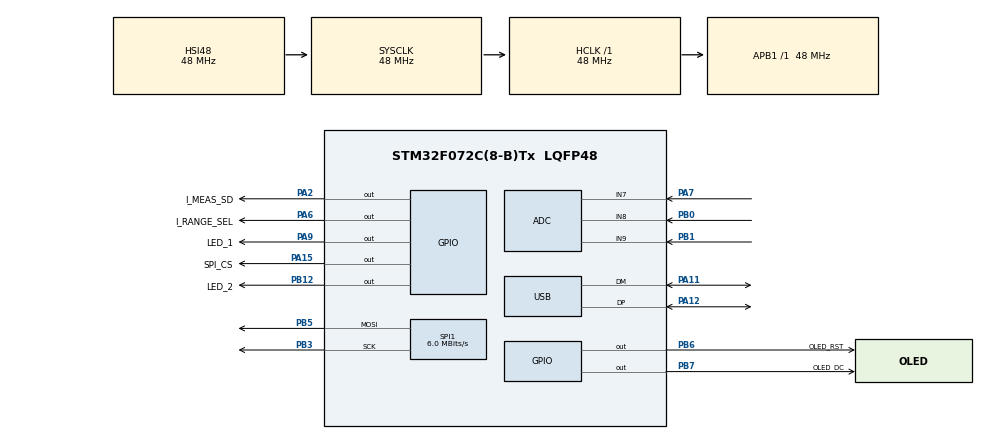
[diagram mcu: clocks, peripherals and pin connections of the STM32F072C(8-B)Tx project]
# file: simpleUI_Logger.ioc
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ADC.ClockPrescaler=ADC_CLOCK_ASYNC_DIV1
ADC.ContinuousConvMode=ENABLE
ADC.DMAContinuousRequests=ENABLE
ADC.EOCSelection=ADC_EOC_SEQ_CONV
ADC.ExternalTrigConv=ADC_EXTERNALTRIGCONV_T2_TRGO
ADC.Overrun=ADC_OVR_DATA_OVERWRITTEN
ADC.SamplingTime=ADC_SAMPLETIME_1CYCLE_5
Dma.ADC.0.Direction=DMA_PERIPH_TO_MEMORY
Dma.ADC.0.Instance=DMA1_Channel1
Dma.ADC.0.MemDataAlignment=DMA_MDATAALIGN_HALFWORD
Dma.ADC.0.MemInc=DMA_MINC_ENABLE
Dma.ADC.0.Mode=DMA_CIRCULAR
Dma.ADC.0.PeriphDataAlignment=DMA_PDATAALIGN_HALFWORD
Dma.ADC.0.PeriphInc=DMA_PINC_DISABLE
Dma.ADC.0.Priority=DMA_PRIORITY_HIGH
Dma.Request0=ADC
Dma.Request1=SPI1_TX
Dma.SPI1_TX.1.Direction=DMA_MEMORY_TO_PERIPH
Dma.SPI1_TX.1.Instance=DMA1_Channel3
Dma.SPI1_TX.1.MemDataAlignment=DMA_MDATAALIGN_BYTE
Dma.SPI1_TX.1.MemInc=DMA_MINC_ENABLE
Dma.SPI1_TX.1.Mode=DMA_NORMAL
Dma.SPI1_TX.1.PeriphDataAlignment=DMA_PDATAALIGN_BYTE
Dma.SPI1_TX.1.PeriphInc=DMA_PINC_DISABLE
Dma.SPI1_TX.1.Priority=DMA_PRIORITY_LOW
Mcu.Family=STM32F0
Mcu.Name=STM32F072C(8-B)Tx
Mcu.Package=LQFP48
NVIC.ADC1_COMP_IRQn=true\:0\:0\:true\:false\:true\:true\:true
NVIC.DMA1_Channel1_IRQn=true\:0\:0\:false\:false\:true\:false\:true
NVIC.DMA1_Channel2_3_IRQn=true\:0\:0\:false\:false\:true\:false\:true
NVIC.TIM6_DAC_IRQn=true\:2\:0\:true\:false\:true\:true\:true
NVIC.TIM7_IRQn=true\:3\:0\:true\:false\:true\:true\:true
NVIC.USB_IRQn=true\:0\:0\:false\:false\:true\:false\:true
PA0.Signal=COMP1_INM
PA1.Signal=COMP1_INP
PA11.Mode=Device
PA11.Signal=USB_DM
PA12.Mode=Device
PA12.Signal=USB_DP
PA13.Mode=Serial_Wire
PA13.Signal=SYS_SWDIO
PA14.Mode=Serial_Wire
PA14.Signal=SYS_SWCLK
PA15.GPIO_Label=SPI_CS
PA15.Signal=GPIO_Output
PA2.GPIO_Label=I_MEAS_SD
PA2.Signal=GPIO_Output
PA3.Signal=COMP2_INP
PA5.Signal=COMP2_INM
PA6.GPIO_Label=I_RANGE_SEL
PA6.Signal=GPIO_Output
PA7.Mode=IN7
PA7.Signal=ADC_IN7
PA8.Signal=RCC_MCO
PA9.GPIO_Label=LED_1
PA9.Signal=GPIO_Output
PB0.Mode=IN8
PB0.Signal=ADC_IN8
PB1.Mode=IN9
PB1.Signal=ADC_IN9
PB12.GPIO_Label=LED_2
PB12.Signal=GPIO_Output
PB3.Mode=TX_Only_Simplex_Unidirect_Master
PB3.Signal=SPI1_SCK
PB5.Mode=TX_Only_Simplex_Unidirect_Master
PB5.Signal=SPI1_MOSI
PB6.GPIO_Label=OLED_RST
PB6.Signal=GPIO_Output
PB7.GPIO_Label=OLED_DC
PB7.Signal=GPIO_Output
ProjectManager.HeapSize=0x200
ProjectManager.StackSize=0x400
ProjectManager.TargetToolchain=STM32CubeIDE
RCC.AHBFreq_Value=48000000
RCC.APB1Freq_Value=48000000
RCC.APB1TimFreq_Value=48000000
RCC.HCLKFreq_Value=48000000
RCC.PLLMUL=RCC_PLL_MUL6
RCC.RCC_MCODiv=RCC_MCODIV_64
RCC.SYSCLKFreq_VALUE=48000000
RCC.SYSCLKSource=RCC_SYSCLKSOURCE_HSI48
SPI1.BaudRatePrescaler=SPI_BAUDRATEPRESCALER_8
SPI1.CalculateBaudRate=6.0 MBits/s
SPI1.DataSize=SPI_DATASIZE_8BIT
SPI1.Direction=SPI_DIRECTION_2LINES
SPI1.Mode=SPI_MODE_MASTER
SPI1.VirtualType=VM_MASTER
TIM2.Period=0xf4240
TIM2.Prescaler=48
TIM2.TIM_MasterOutputTrigger=TIM_TRGO_UPDATE
TIM6.Period=1000
TIM6.Prescaler=4800
TIM7.Period=5000
TIM7.Prescaler=4800
USB_DEVICE.CLASS_NAME_FS=CDC
USB_DEVICE.USBD_SELF_POWERED=0
USB_DEVICE.VirtualMode=Cdc
USB_DEVICE.VirtualModeFS=Cdc_FS
VP_TIM2_VS_ClockSourceINT.Mode=Internal
VP_TIM6_VS_ClockSourceINT.Mode=Enable_Timer
VP_TIM7_VS_ClockSourceINT.Mode=Enable_Timer
VP_USB_DEVICE_VS_USB_DEVICE_CDC_FS.Mode=CDC_FS
board=custom

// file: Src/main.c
/* USER CODE BEGIN Header */
/**
  ******************************************************************************
  * @file           : main.c
  * @brief          : Main program body
  ******************************************************************************
  * @attention
  *
  * <h2><center>&copy; Copyright (c) 2019 STMicroelectronics.
  * All rights reserved.</center></h2>
  *
  * This software component is licensed by ST under BSD 3-Clause license,
  * the "License"; You may not use this file except in compliance with the
  * License. You may obtain a copy of the License at:
  *                        opensource.org/licenses/BSD-3-Clause
  *
  ******************************************************************************
  */
/* USER CODE END Header */

#include "main.h"
#include "usb_device.h"

/* USER CODE BEGIN Includes */
#include "ui_log.h"
#include "ssd1306.h"
#include "ssd1306_tests.h"
/* USER CODE END Includes */

ADC_HandleTypeDef hadc;
DMA_HandleTypeDef hdma_adc;

SPI_HandleTypeDef hspi1;
DMA_HandleTypeDef hdma_spi1_tx;

TIM_HandleTypeDef htim2;
TIM_HandleTypeDef htim6;
TIM_HandleTypeDef htim7;

/* USER CODE BEGIN PV */
uint16_t adcRawBuffer[ADC_DMA_BUFFER_SIZE] = {};
uint8_t dmaCounter = 0;
extern ui_log_typedef ui_handle;
volatile uint8_t led_green = 0;
extern uint16_t voltage_tmp, current_tmp;
volatile uint8_t OLED_update = 0;
volatile uint8_t OLED_SPI_busy = 0;
//volatile uint8_t OLED_busy = 0;
/* USER CODE END PV */

void SystemClock_Config(void);
static void MX_GPIO_Init(void);
static void MX_DMA_Init(void);
static void MX_ADC_Init(void);
static void MX_SPI1_Init(void);
static void MX_TIM2_Init(void);
static void MX_TIM6_Init(void);
static void MX_TIM7_Init(void);
/* USER CODE BEGIN PFP */
void update_OLED(uint16_t u, uint16_t i);
void update_OLED_logging(void);
void update_OLED_error(void);
/* USER CODE END PFP */

int main(void)
{

  /* MCU Configuration--------------------------------------------------------*/

  /* Reset of all peripherals, Initializes the Flash interface and the Systick. */
  HAL_Init();

  /* Configure the system clock */
  SystemClock_Config();

  /* Initialize all configured peripherals */
  MX_GPIO_Init();
  MX_DMA_Init();
  MX_ADC_Init();
  MX_SPI1_Init();
  MX_TIM2_Init();
  MX_USB_DEVICE_Init();
  MX_TIM6_Init();
  MX_TIM7_Init();
  /* USER CODE BEGIN 2 */

  //Initialize hardware
  HAL_GPIO_WritePin(I_RANGE_SEL_GPIO_Port, I_RANGE_SEL_Pin, GPIO_PIN_SET); //Bypass 10ohm resistor
  HAL_GPIO_WritePin(I_MEAS_SD_GPIO_Port, I_MEAS_SD_Pin, GPIO_PIN_SET); //Enable current path
  //Calibrate ADC with factory calibration data
  if(HAL_ADCEx_Calibration_Start(&hadc)!=HAL_OK) {
	  HAL_GPIO_WritePin(LED_1_GPIO_Port, LED_1_Pin, GPIO_PIN_RESET);
	  HAL_GPIO_WritePin(LED_2_GPIO_Port, LED_2_Pin, GPIO_PIN_SET);
	  while(1) {
		  HAL_Delay(1);//Error
	  }
  }

  ui_initHandle(&ui_handle);

  //Start ADC, measurement triggered after timer 2 is started
  HAL_ADC_Start_DMA(&hadc, (uint32_t*)adcRawBuffer, ADC_DMA_BUFFER_SIZE);

  //Init OLED module
  ssd1306_Init();

  //Initialization finished, turn on green LEd
  HAL_GPIO_WritePin(LED_1_GPIO_Port, LED_1_Pin, GPIO_PIN_SET);
  led_green = 1;

  HAL_TIM_Base_Start(&htim2);//Start ADC trigger
  HAL_TIM_Base_Start_IT(&htim6);

  /* USER CODE END 2 */

  /* Infinite loop */
  while (1)
  {

    /* USER CODE BEGIN 3 */
	  ui_backgroundTask(&ui_handle);
	  if(OLED_update) {
		  OLED_update = 0;
		  if(ui_handle.status==UI_RUN) {
			  update_OLED_logging();//Not necessary frequently updated, but kept
		  }
		  else if(ui_handle.status==UI_ERROR) {
			  update_OLED_error();//Not necessary frequently updated, but kept
		  }
		  else if(ui_handle.status==UI_IDLE){
			  update_OLED(voltage_tmp, current_tmp); //Display voltage/current
		  }
	  }
  }
  /* USER CODE END 3 */
}

void SystemClock_Config(void)
{
  RCC_OscInitTypeDef RCC_OscInitStruct = {0};
  RCC_ClkInitTypeDef RCC_ClkInitStruct = {0};
  RCC_PeriphCLKInitTypeDef PeriphClkInit = {0};

  /** Initializes the CPU, AHB and APB busses clocks
  */
  RCC_OscInitStruct.OscillatorType = RCC_OSCILLATORTYPE_HSI14|RCC_OSCILLATORTYPE_HSI48;
  RCC_OscInitStruct.HSI48State = RCC_HSI48_ON;
  RCC_OscInitStruct.HSI14State = RCC_HSI14_ON;
  RCC_OscInitStruct.HSI14CalibrationValue = 16;
  RCC_OscInitStruct.PLL.PLLState = RCC_PLL_NONE;
  if (HAL_RCC_OscConfig(&RCC_OscInitStruct) != HAL_OK)
  {
    Error_Handler();
  }
  /** Initializes the CPU, AHB and APB busses clocks
  */
  RCC_ClkInitStruct.ClockType = RCC_CLOCKTYPE_HCLK|RCC_CLOCKTYPE_SYSCLK
                              |RCC_CLOCKTYPE_PCLK1;
  RCC_ClkInitStruct.SYSCLKSource = RCC_SYSCLKSOURCE_HSI48;
  RCC_ClkInitStruct.AHBCLKDivider = RCC_SYSCLK_DIV1;
  RCC_ClkInitStruct.APB1CLKDivider = RCC_HCLK_DIV1;

  if (HAL_RCC_ClockConfig(&RCC_ClkInitStruct, FLASH_LATENCY_1) != HAL_OK)
  {
    Error_Handler();
  }
  PeriphClkInit.PeriphClockSelection = RCC_PERIPHCLK_USB;
  PeriphClkInit.UsbClockSelection = RCC_USBCLKSOURCE_HSI48;

  if (HAL_RCCEx_PeriphCLKConfig(&PeriphClkInit) != HAL_OK)
  {
    Error_Handler();
  }
}

static void MX_ADC_Init(void)
{

  ADC_ChannelConfTypeDef sConfig = {0};

  /** Configure the global features of the ADC (Clock, Resolution, Data Alignment and number of conversion)
  */
  hadc.Instance = ADC1;
  hadc.Init.ClockPrescaler = ADC_CLOCK_ASYNC_DIV1;
  hadc.Init.Resolution = ADC_RESOLUTION_12B;
  hadc.Init.DataAlign = ADC_DATAALIGN_RIGHT;
  hadc.Init.ScanConvMode = ADC_SCAN_DIRECTION_FORWARD;
  hadc.Init.EOCSelection = ADC_EOC_SEQ_CONV;
  hadc.Init.LowPowerAutoWait = DISABLE;
  hadc.Init.LowPowerAutoPowerOff = DISABLE;
  hadc.Init.ContinuousConvMode = ENABLE;
  hadc.Init.DiscontinuousConvMode = DISABLE;
  hadc.Init.ExternalTrigConv = ADC_EXTERNALTRIGCONV_T2_TRGO;
  hadc.Init.ExternalTrigConvEdge = ADC_EXTERNALTRIGCONVEDGE_RISING;
  hadc.Init.DMAContinuousRequests = ENABLE;
  hadc.Init.Overrun = ADC_OVR_DATA_OVERWRITTEN;
  if (HAL_ADC_Init(&hadc) != HAL_OK)
  {
    Error_Handler();
  }
  /** Configure for the selected ADC regular channel to be converted.
  */
  sConfig.Channel = ADC_CHANNEL_7;
  sConfig.Rank = ADC_RANK_CHANNEL_NUMBER;
  sConfig.SamplingTime = ADC_SAMPLETIME_1CYCLE_5;
  if (HAL_ADC_ConfigChannel(&hadc, &sConfig) != HAL_OK)
  {
    Error_Handler();
  }
  /** Configure for the selected ADC regular channel to be converted.
  */
  sConfig.Channel = ADC_CHANNEL_8;
  if (HAL_ADC_ConfigChannel(&hadc, &sConfig) != HAL_OK)
  {
    Error_Handler();
  }
  /** Configure for the selected ADC regular channel to be converted.
  */
  sConfig.Channel = ADC_CHANNEL_9;
  if (HAL_ADC_ConfigChannel(&hadc, &sConfig) != HAL_OK)
  {
    Error_Handler();
  }

}

static void MX_SPI1_Init(void)
{

  /* SPI1 parameter configuration*/
  hspi1.Instance = SPI1;
  hspi1.Init.Mode = SPI_MODE_MASTER;
  hspi1.Init.Direction = SPI_DIRECTION_2LINES;
  hspi1.Init.DataSize = SPI_DATASIZE_8BIT;
  hspi1.Init.CLKPolarity = SPI_POLARITY_LOW;
  hspi1.Init.CLKPhase = SPI_PHASE_1EDGE;
  hspi1.Init.NSS = SPI_NSS_SOFT;
  hspi1.Init.BaudRatePrescaler = SPI_BAUDRATEPRESCALER_8;
  hspi1.Init.FirstBit = SPI_FIRSTBIT_MSB;
  hspi1.Init.TIMode = SPI_TIMODE_DISABLE;
  hspi1.Init.CRCCalculation = SPI_CRCCALCULATION_DISABLE;
  hspi1.Init.CRCPolynomial = 7;
  hspi1.Init.CRCLength = SPI_CRC_LENGTH_DATASIZE;
  hspi1.Init.NSSPMode = SPI_NSS_PULSE_ENABLE;
  if (HAL_SPI_Init(&hspi1) != HAL_OK)
  {
    Error_Handler();
  }

}

static void MX_TIM2_Init(void)
{

  TIM_ClockConfigTypeDef sClockSourceConfig = {0};
  TIM_MasterConfigTypeDef sMasterConfig = {0};

  htim2.Instance = TIM2;
  htim2.Init.Prescaler = 48;
  htim2.Init.CounterMode = TIM_COUNTERMODE_UP;
  htim2.Init.Period = 0xf4240;
  htim2.Init.ClockDivision = TIM_CLOCKDIVISION_DIV1;
  htim2.Init.AutoReloadPreload = TIM_AUTORELOAD_PRELOAD_DISABLE;
  if (HAL_TIM_Base_Init(&htim2) != HAL_OK)
  {
    Error_Handler();
  }
  sClockSourceConfig.ClockSource = TIM_CLOCKSOURCE_INTERNAL;
  if (HAL_TIM_ConfigClockSource(&htim2, &sClockSourceConfig) != HAL_OK)
  {
    Error_Handler();
  }
  sMasterConfig.MasterOutputTrigger = TIM_TRGO_UPDATE;
  sMasterConfig.MasterSlaveMode = TIM_MASTERSLAVEMODE_DISABLE;
  if (HAL_TIMEx_MasterConfigSynchronization(&htim2, &sMasterConfig) != HAL_OK)
  {
    Error_Handler();
  }

}

static void MX_TIM6_Init(void)
{

  TIM_MasterConfigTypeDef sMasterConfig = {0};

  htim6.Instance = TIM6;
  htim6.Init.Prescaler = 4800;
  htim6.Init.CounterMode = TIM_COUNTERMODE_UP;
  htim6.Init.Period = 1000;
  htim6.Init.AutoReloadPreload = TIM_AUTORELOAD_PRELOAD_DISABLE;
  if (HAL_TIM_Base_Init(&htim6) != HAL_OK)
  {
    Error_Handler();
  }
  sMasterConfig.MasterOutputTrigger = TIM_TRGO_RESET;
  sMasterConfig.MasterSlaveMode = TIM_MASTERSLAVEMODE_DISABLE;
  if (HAL_TIMEx_MasterConfigSynchronization(&htim6, &sMasterConfig) != HAL_OK)
  {
    Error_Handler();
  }

}

static void MX_TIM7_Init(void)
{

  TIM_MasterConfigTypeDef sMasterConfig = {0};

  htim7.Instance = TIM7;
  htim7.Init.Prescaler = 4800;
  htim7.Init.CounterMode = TIM_COUNTERMODE_UP;
  htim7.Init.Period = 5000;
  htim7.Init.AutoReloadPreload = TIM_AUTORELOAD_PRELOAD_DISABLE;
  if (HAL_TIM_Base_Init(&htim7) != HAL_OK)
  {
    Error_Handler();
  }
  sMasterConfig.MasterOutputTrigger = TIM_TRGO_RESET;
  sMasterConfig.MasterSlaveMode = TIM_MASTERSLAVEMODE_DISABLE;
  if (HAL_TIMEx_MasterConfigSynchronization(&htim7, &sMasterConfig) != HAL_OK)
  {
    Error_Handler();
  }

}

static void MX_DMA_Init(void)
{

  /* DMA controller clock enable */
  __HAL_RCC_DMA1_CLK_ENABLE();

  /* DMA interrupt init */
  /* DMA1_Channel1_IRQn interrupt configuration */
  HAL_NVIC_SetPriority(DMA1_Channel1_IRQn, 0, 0);
  HAL_NVIC_EnableIRQ(DMA1_Channel1_IRQn);
  /* DMA1_Channel2_3_IRQn interrupt configuration */
  HAL_NVIC_SetPriority(DMA1_Channel2_3_IRQn, 0, 0);
  HAL_NVIC_EnableIRQ(DMA1_Channel2_3_IRQn);

}

static void MX_GPIO_Init(void)
{
  GPIO_InitTypeDef GPIO_InitStruct = {0};

  /* GPIO Ports Clock Enable */
  __HAL_RCC_GPIOC_CLK_ENABLE();
  __HAL_RCC_GPIOF_CLK_ENABLE();
  __HAL_RCC_GPIOA_CLK_ENABLE();
  __HAL_RCC_GPIOB_CLK_ENABLE();

  /*Configure GPIO pin Output Level */
  HAL_GPIO_WritePin(GPIOA, I_MEAS_SD_Pin|I_RANGE_SEL_Pin|LED_1_Pin|SPI_CS_Pin, GPIO_PIN_RESET);

  /*Configure GPIO pin Output Level */
  HAL_GPIO_WritePin(GPIOB, LED_2_Pin|OLED_RST_Pin|OLED_DC_Pin, GPIO_PIN_RESET);

  /*Configure GPIO pins : PC13 PC14 PC15 */
  GPIO_InitStruct.Pin = GPIO_PIN_13|GPIO_PIN_14|GPIO_PIN_15;
  GPIO_InitStruct.Mode = GPIO_MODE_ANALOG;
  GPIO_InitStruct.Pull = GPIO_NOPULL;
  HAL_GPIO_Init(GPIOC, &GPIO_InitStruct);

  /*Configure GPIO pins : PF0 PF1 */
  GPIO_InitStruct.Pin = GPIO_PIN_0|GPIO_PIN_1;
  GPIO_InitStruct.Mode = GPIO_MODE_ANALOG;
  GPIO_InitStruct.Pull = GPIO_NOPULL;
  HAL_GPIO_Init(GPIOF, &GPIO_InitStruct);

  /*Configure GPIO pins : PA0 PA1 PA3 PA4
                           PA5 PA10 */
  GPIO_InitStruct.Pin = GPIO_PIN_0|GPIO_PIN_1|GPIO_PIN_3|GPIO_PIN_4
                          |GPIO_PIN_5|GPIO_PIN_10;
  GPIO_InitStruct.Mode = GPIO_MODE_ANALOG;
  GPIO_InitStruct.Pull = GPIO_NOPULL;
  HAL_GPIO_Init(GPIOA, &GPIO_InitStruct);

  /*Configure GPIO pins : I_MEAS_SD_Pin I_RANGE_SEL_Pin LED_1_Pin SPI_CS_Pin */
  GPIO_InitStruct.Pin = I_MEAS_SD_Pin|I_RANGE_SEL_Pin|LED_1_Pin|SPI_CS_Pin;
  GPIO_InitStruct.Mode = GPIO_MODE_OUTPUT_PP;
  GPIO_InitStruct.Pull = GPIO_NOPULL;
  GPIO_InitStruct.Speed = GPIO_SPEED_FREQ_LOW;
  HAL_GPIO_Init(GPIOA, &GPIO_InitStruct);

  /*Configure GPIO pins : PB2 PB10 PB11 PB13
                           PB14 PB15 PB4 PB8
                           PB9 */
  GPIO_InitStruct.Pin = GPIO_PIN_2|GPIO_PIN_10|GPIO_PIN_11|GPIO_PIN_13
                          |GPIO_PIN_14|GPIO_PIN_15|GPIO_PIN_4|GPIO_PIN_8
                          |GPIO_PIN_9;
  GPIO_InitStruct.Mode = GPIO_MODE_ANALOG;
  GPIO_InitStruct.Pull = GPIO_NOPULL;
  HAL_GPIO_Init(GPIOB, &GPIO_InitStruct);

  /*Configure GPIO pins : LED_2_Pin OLED_RST_Pin OLED_DC_Pin */
  GPIO_InitStruct.Pin = LED_2_Pin|OLED_RST_Pin|OLED_DC_Pin;
  GPIO_InitStruct.Mode = GPIO_MODE_OUTPUT_PP;
  GPIO_InitStruct.Pull = GPIO_NOPULL;
  GPIO_InitStruct.Speed = GPIO_SPEED_FREQ_LOW;
  HAL_GPIO_Init(GPIOB, &GPIO_InitStruct);

  /*Configure GPIO pin : PA8 */
  GPIO_InitStruct.Pin = GPIO_PIN_8;
  GPIO_InitStruct.Mode = GPIO_MODE_AF_PP;
  GPIO_InitStruct.Pull = GPIO_NOPULL;
  GPIO_InitStruct.Speed = GPIO_SPEED_FREQ_LOW;
  GPIO_InitStruct.Alternate = GPIO_AF0_MCO;
  HAL_GPIO_Init(GPIOA, &GPIO_InitStruct);

}

/* USER CODE BEGIN 4 */
void HAL_ADC_ConvCpltCallback(ADC_HandleTypeDef* hadc) {
	HAL_ADC_Stop_DMA(hadc);
	callback_ADC_EndOfSequence(&ui_handle, adcRawBuffer);
	HAL_ADC_Start_DMA(hadc, (uint32_t*)adcRawBuffer, ADC_DMA_BUFFER_SIZE);
}

//ISR callback function for timer
void HAL_TIM_PeriodElapsedCallback(TIM_HandleTypeDef *htim) {
	static uint8_t toggle_flag = 0;
	if(htim->Instance==TIM6) {
		OLED_update = 1;
	}
	if(htim->Instance==TIM7) {
		if(led_green) {
			if(toggle_flag) {
				HAL_GPIO_WritePin(LED_1_GPIO_Port, LED_1_Pin, GPIO_PIN_SET);
				toggle_flag = 0;
			}
			else
			{
				HAL_GPIO_WritePin(LED_1_GPIO_Port, LED_1_Pin, GPIO_PIN_RESET);
				toggle_flag = 1;
			}
		}
	}
}

//void HAL_COMP_TriggerCallback(COMP_HandleTypeDef *hcomp) {
//	callback_OverCurrent(&ui_handle);
//}

//Convert voltage value to string
void voltageToString(uint16_t val, char *buf) {
	uint8_t res = (val>>10) & 0x3;
	uint16_t volt = val & 0x03FF;
	switch(res) {
	case 0x01:
		buf[0]=volt/100 + '0';
		buf[1]='.';
		buf[2]=volt/10%10 + '0';
		buf[3]=volt%10 + '0';
		buf[4]='\0';
		break;
	default:
		buf[0]='0';
		buf[1]='.';
		buf[2]='0';
		buf[3]='0';
		buf[4]='\0';
		break;
	}
}

//Convert current value to string
void currentToString(uint16_t val, char *buf) {
	uint8_t res = (val>>10) & 0x3;
	uint16_t curr = val & 0x03FF;
	switch(res) {
	case 0x01:
		buf[0]=' ';
		buf[1]=curr/100+'0';
		buf[2]=curr/10%10 + '0';
		buf[3]=curr%10 + '0';
		buf[4]='\0';
		uint8_t i=1;
		while(buf[i]=='0') {
			buf[i]=' ';
			i++;
		}
		break;
	case 0x10:
		buf[0]=curr/100 + '0';
		buf[1]='.';
		buf[2]=curr/10%10 + '0';
		buf[3]=curr%10 + '0';
		buf[4]='\0';
		break;
	default:
		buf[0]='0';
		buf[1]='.';
		buf[2]='0';
		buf[3]='0';
		buf[4]='\0';

		break;
	}
}

//Display voltage and current on OLED
void update_OLED(uint16_t u, uint16_t i) {
	char buf1[5];
	char buf2[5];
	voltageToString(u,buf1);
	currentToString(i,buf2);
	ssd1306_Fill(Black);
	ssd1306_SetCursor(50, 24);
	ssd1306_WriteString(buf1, Font_11x18, White);
	ssd1306_SetCursor(100, 24);
	ssd1306_WriteString("V", Font_11x18, White);
	ssd1306_SetCursor(50, 44);
	ssd1306_WriteString(buf2, Font_11x18, White);
	ssd1306_SetCursor(100, 44);
	ssd1306_WriteString("mA", Font_11x18, White);

	ssd1306_SetCursor(12, 0);
	ssd1306_WriteString("simpleUI-Logger", Font_7x10, White);

	ssd1306_UpdateScreen();

}

void update_OLED_logging(void) {
	//Logging
	ssd1306_Fill(Black);
	ssd1306_SetCursor(29, 24);
	ssd1306_WriteString("Logging...", Font_7x10, White);
	ssd1306_UpdateScreen();
}

void update_OLED_error(void) {
	//Error
	ssd1306_Fill(Black);
	ssd1306_SetCursor(39, 24);
	ssd1306_WriteString("Error!!", Font_7x10, White);
	ssd1306_UpdateScreen();
}

void HAL_SPI_TxCpltCallback(SPI_HandleTypeDef* hspi) {
	OLED_SPI_busy = 0;
}
/* USER CODE END 4 */

void Error_Handler(void)
{
}

/************************ (C) COPYRIGHT STMicroelectronics *****END OF FILE****/
